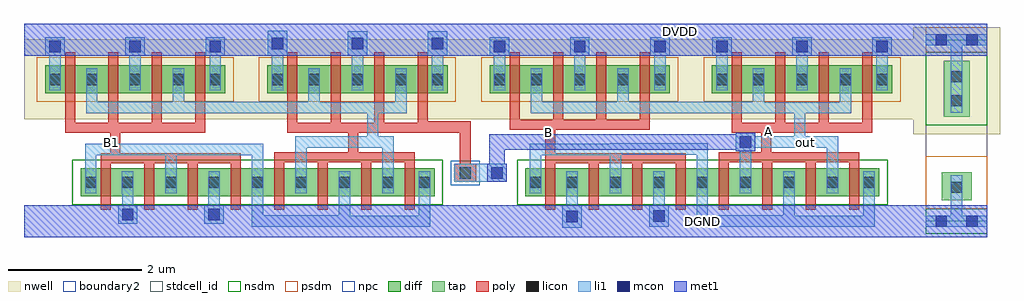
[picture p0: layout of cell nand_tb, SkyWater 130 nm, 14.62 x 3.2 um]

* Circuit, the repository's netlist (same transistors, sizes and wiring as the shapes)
** sch_path: /home/joyen/ee5311/EE5311/assignments/assignment5/nand_tb.sch
.subckt nand_tb DVDD A out B B1 DGND
*.PININFO A:I out:O DGND:B DVDD:B B:I B1:I
x1 DVDD A out B DGND nand
x2 DVDD out net1 B1 DGND nand
.ends

* expanding   symbol:  nand.sym # of pins=5
** sym_path: /home/joyen/ee5311/EE5311/assignments/assignment5/nand.sym
** sch_path: /home/joyen/ee5311/EE5311/assignments/assignment5/nand.sch
.subckt nand VDD A out B GND
*.PININFO A:I out:O VDD:B GND:B B:I
XM1 out A net1 GND sky130_fd_pr__nfet_01v8 L=0.15 W=1.68 nf=4
XM2 out A VDD VDD sky130_fd_pr__pfet_01v8 L=0.15 W=1.68 nf=4
XM3 net1 B GND GND sky130_fd_pr__nfet_01v8 L=0.15 W=1.68 nf=4
XM4 out B VDD VDD sky130_fd_pr__pfet_01v8 L=0.15 W=1.68 nf=4
.ends

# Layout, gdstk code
import gdstk
lib = gdstk.Library(unit=1e-6, precision=1e-09)
def R(c, l, rs):  # rectangles x0, y0, x1, y1
    for r in rs: c.add(gdstk.rectangle(r[:2], r[2:], *l))
def A(c, l, x, y, w, h, nx, ny, dx, dy):  # array of equal rectangles
    R(c, l, [(x+i*dx, y+j*dy, x+i*dx+w, y+j*dy+h) for i in range(nx) for j in range(ny)])
nwell = (64, 20)
diff = (65, 20)
tap = (65, 44)
poly = (66, 20)
licon = (66, 44)
li1 = (67, 20)
mcon = (67, 44)
met1 = (68, 20)
stdcell_id = (81, 4)
nsdm = (93, 44)
psdm = (94, 20)
npc = (95, 20)
boundary2 = (236, 0)

tap_ = lib.new_cell('tap')
R(tap_, nwell, [(-0.19,1.305,1.11,2.91)])
R(tap_, tap, [(0.235,0.315,0.685,0.735), (0.265,1.565,0.655,2.405)])
R(tap_, licon, [(0.375,0.425,0.545,0.595), (0.375,1.72,0.545,1.89), (0.375,2.08,0.545,2.25)])
R(tap_, li1, [(0,-0.085,0.92,0.085), (0.375,0,0.545,0.69), (0.375,1.625,0.545,2.72), (0,2.635,0.92,2.805)])
R(tap_, mcon, [(0.145,-0.085,0.315,0.085), (0.605,-0.085,0.775,0.085), (0.145,2.635,0.315,2.805), (0.605,2.635,0.775,2.805)])
R(tap_, met1, [(0,-0.24,0.92,0.24), (0,2.48,0.92,2.96)])
R(tap_, stdcell_id, [(0,0,0.92,2.72)])
R(tap_, nsdm, [(0,-0.19,0.92,0.19), (0,1.44,0.92,2.53)])
R(tap_, psdm, [(0,0.19,0.92,0.975), (0,2.53,0.92,2.91)])
R(tap_, boundary2, [(0,0,0.92,2.72)])
tap_.add(gdstk.Label('tap', (0,0), layer=83, texttype=44))

pfet = lib.new_cell('pfet')
R(pfet, nwell, [(-0.315,-0.39,3.015,0.81)])
R(pfet, diff, [(0,0,2.7,0.42)])
A(pfet, poly, 0.3, -0.2, 0.15, 0.82, 4, 1, 0.65, 0)
A(pfet, licon, 0.615, 0.125, 0.17, 0.17, 3, 1, 0.65, 0)
R(pfet, licon, [(0.065,0.125,0.235,0.295), (2.465,0.125,2.635,0.295)])
A(pfet, li1, 0.615, 0.045, 0.17, 0.33, 3, 1, 0.65, 0)
R(pfet, li1, [(0.065,0.045,0.235,0.375), (2.465,0.045,2.635,0.375)])
R(pfet, psdm, [(-0.125,-0.125,2.825,0.545)])

vias_gen_2 = lib.new_cell('vias_gen$2')
R(vias_gen_2, li1, [(0,0,0.29,0.28)])
R(vias_gen_2, mcon, [(0.06,0.055,0.23,0.225)])
R(vias_gen_2, met1, [(0,0,0.29,0.28)])

nfet = lib.new_cell('nfet')
R(nfet, diff, [(0,0,5.3,0.42)])
A(nfet, poly, 0.3, -0.2, 0.15, 0.82, 8, 1, 0.65, 0)
A(nfet, licon, 0.615, 0.125, 0.17, 0.17, 7, 1, 0.65, 0)
R(nfet, licon, [(0.065,0.125,0.235,0.295), (5.065,0.125,5.235,0.295)])
A(nfet, li1, 0.615, 0.045, 0.17, 0.33, 7, 1, 0.65, 0)
R(nfet, li1, [(0.065,0.045,0.235,0.375), (5.065,0.045,5.235,0.375)])
R(nfet, nsdm, [(-0.125,-0.125,5.425,0.545)])

vias_gen_6 = lib.new_cell('vias_gen$6')
R(vias_gen_6, li1, [(0,0,0.29,0.335)])
R(vias_gen_6, mcon, [(0.06,0.08,0.23,0.25)])
R(vias_gen_6, met1, [(0,0,0.29,0.335)])

vias_gen_7 = lib.new_cell('vias_gen$7')
R(vias_gen_7, li1, [(0,0,0.29,0.32)])
R(vias_gen_7, mcon, [(0.06,0.075,0.23,0.245)])
R(vias_gen_7, met1, [(0,0,0.29,0.32)])

vias_gen_1 = lib.new_cell('vias_gen$1')
R(vias_gen_1, li1, [(0,0,0.29,0.37)])
R(vias_gen_1, mcon, [(0.06,0.1,0.23,0.27)])
R(vias_gen_1, met1, [(0,0,0.29,0.37)])

vias_gen = lib.new_cell('vias_gen')
R(vias_gen, li1, [(0,0,0.29,0.375)])
R(vias_gen, mcon, [(0.06,0.1,0.23,0.27)])
R(vias_gen, met1, [(0,0,0.29,0.375)])

vias_gen_4 = lib.new_cell('vias_gen$4')
R(vias_gen_4, poly, [(0,0,0.33,0.27)])
R(vias_gen_4, licon, [(0.08,0.05,0.25,0.22)])
R(vias_gen_4, li1, [(0,0,0.33,0.27)])
R(vias_gen_4, npc, [(-0.05,-0.05,0.38,0.32)])

vias_gen_5 = lib.new_cell('vias_gen$5')
R(vias_gen_5, li1, [(0,0,0.29,0.27)])
R(vias_gen_5, mcon, [(0.06,0.05,0.23,0.22)])
R(vias_gen_5, met1, [(0,0,0.29,0.27)])

nand_tb = lib.new_cell('nand_tb')
nand_tb.add(gdstk.FlexPath([(-8.285,1.865),(-8.285,1.525)], 0.17, ends="flush", simple_path=True, layer=67, datatype=20))  # li1
nand_tb.add(gdstk.FlexPath([(-7.985,1.44),(-9.36,1.44),(-9.36,0.75)], 0.17, ends="flush", simple_path=True, layer=67, datatype=20))  # li1
nand_tb.add(gdstk.FlexPath([(-1.4,0.92),(-1.4,1.525)], 0.17, ends="flush", simple_path=True, layer=67, datatype=20))  # li1
nand_tb.add(gdstk.FlexPath([(-3.055,2.54),(-3.055,3.01)], 0.17, ends="flush", simple_path=True, layer=67, datatype=20))  # li1
nand_tb.add(gdstk.FlexPath([(-1.855,2.54),(-1.855,3.01)], 0.17, ends="flush", simple_path=True, layer=67, datatype=20))  # li1
nand_tb.add(gdstk.FlexPath([(-0.655,2.54),(-0.655,3.01)], 0.17, ends="flush", simple_path=True, layer=67, datatype=20))  # li1
nand_tb.add(gdstk.FlexPath([(-11.395,1.325),(-12.51,1.325),(-12.51,0.75)], 0.17, ends="flush", simple_path=True, layer=67, datatype=20))  # li1
nand_tb.add(gdstk.FlexPath([(-10.01,0.91),(-10.01,1.325),(-11.31,1.325),(-11.31,0.74)], 0.17, ends="flush", simple_path=True, layer=67, datatype=20))  # li1
nand_tb.add(gdstk.FlexPath([(-8.795,0.255),(-10.01,0.255),(-10.01,0.94)], 0.17, ends="flush", simple_path=True, layer=67, datatype=20))  # li1
nand_tb.add(gdstk.FlexPath([(-7.51,0.92),(-7.51,0.25),(-8.71,0.25),(-8.71,0.92)], 0.17, ends="flush", simple_path=True, layer=67, datatype=20))  # li1
nand_tb.add(gdstk.FlexPath([(-8.06,0.75),(-8.06,1.525)], 0.17, ends="flush", simple_path=True, layer=67, datatype=20))  # li1
nand_tb.add(gdstk.FlexPath([(-2.505,2.47),(-2.505,1.95),(-1.205,1.95),(-1.205,2.47)], 0.17, ends="flush", simple_path=True, layer=67, datatype=20))  # li1
nand_tb.add(gdstk.FlexPath([(-5.835,2.46),(-5.835,1.955),(-4.535,1.955),(-4.535,2.46)], 0.17, ends="flush", simple_path=True, layer=67, datatype=20))  # li1
nand_tb.add(gdstk.FlexPath([(-3.985,2.54),(-3.985,3.01)], 0.17, ends="flush", simple_path=True, layer=67, datatype=20))  # li1
nand_tb.add(gdstk.FlexPath([(-5.185,2.54),(-5.185,3.01)], 0.17, ends="flush", simple_path=True, layer=67, datatype=20))  # li1
nand_tb.add(gdstk.FlexPath([(-1.485,1.44),(-2.7,1.44),(-2.7,0.75)], 0.17, ends="flush", simple_path=True, layer=67, datatype=20))  # li1
nand_tb.add(gdstk.FlexPath([(-0.85,0.92),(-0.85,0.25),(-2.05,0.25),(-2.05,0.92)], 0.17, ends="flush", simple_path=True, layer=67, datatype=20))  # li1
nand_tb.add(gdstk.FlexPath([(-2.135,0.255),(-3.35,0.255),(-3.35,0.94)], 0.17, ends="flush", simple_path=True, layer=67, datatype=20))  # li1
nand_tb.add(gdstk.FlexPath([(-2.59,1.955),(-4.45,1.955)], 0.17, ends="flush", simple_path=True, layer=67, datatype=20))  # li1
nand_tb.add(gdstk.FlexPath([(-9.715,2.54),(-9.715,3.105)], 0.17, ends="flush", simple_path=True, layer=67, datatype=20))  # li1
nand_tb.add(gdstk.FlexPath([(-6.385,2.54),(-6.385,3.01)], 0.17, ends="flush", simple_path=True, layer=67, datatype=20))  # li1
nand_tb.add(gdstk.FlexPath([(-8.515,2.54),(-8.515,3.1)], 0.17, ends="flush", simple_path=True, layer=67, datatype=20))  # li1
nand_tb.add(gdstk.FlexPath([(-7.315,2.54),(-7.315,3.1)], 0.17, ends="flush", simple_path=True, layer=67, datatype=20))  # li1
nand_tb.add(gdstk.FlexPath([(-9.165,2.47),(-9.165,1.95),(-7.865,1.95),(-7.865,2.47)], 0.17, ends="flush", simple_path=True, layer=67, datatype=20))  # li1
nand_tb.add(gdstk.FlexPath([(-12.495,2.46),(-12.495,1.955),(-11.195,1.955),(-11.195,2.46)], 0.17, ends="flush", simple_path=True, layer=67, datatype=20))  # li1
nand_tb.add(gdstk.FlexPath([(-10.645,2.54),(-10.645,3.01)], 0.17, ends="flush", simple_path=True, layer=67, datatype=20))  # li1
nand_tb.add(gdstk.FlexPath([(-11.845,2.54),(-11.845,3.01)], 0.17, ends="flush", simple_path=True, layer=67, datatype=20))  # li1
nand_tb.add(gdstk.FlexPath([(-13.045,2.54),(-13.045,3.01)], 0.17, ends="flush", simple_path=True, layer=67, datatype=20))  # li1
nand_tb.add(gdstk.FlexPath([(-9.25,1.955),(-11.11,1.955)], 0.17, ends="flush", simple_path=True, layer=67, datatype=20))  # li1
nand_tb.add(gdstk.FlexPath([(-6.985,0.975),(-6.3,0.975)], 0.27, ends="flush", simple_path=True, layer=67, datatype=20))  # li1
nand_tb.add(gdstk.FlexPath([(-3.35,0.92),(-3.35,1.335),(-4.65,1.335),(-4.65,0.75)], 0.17, ends="flush", simple_path=True, layer=67, datatype=20))  # li1
nand_tb.add(gdstk.FlexPath([(-11.955,0.92),(-11.955,0.21)], 0.17, ends="flush", simple_path=True, layer=67, datatype=20))  # li1
nand_tb.add(gdstk.FlexPath([(-10.665,0.92),(-10.665,0.21)], 0.17, ends="flush", simple_path=True, layer=67, datatype=20))  # li1
nand_tb.add(gdstk.FlexPath([(-4.735,1.325),(-5.85,1.325),(-5.85,0.75)], 0.17, ends="flush", simple_path=True, layer=67, datatype=20))  # li1
nand_tb.add(gdstk.FlexPath([(-4,0.75),(-4,0.17)], 0.17, ends="flush", simple_path=True, layer=67, datatype=20))  # li1
nand_tb.add(gdstk.FlexPath([(-5.3,0.75),(-5.3,0.155)], 0.17, ends="flush", simple_path=True, layer=67, datatype=20))  # li1
nand_tb.add(gdstk.FlexPath([(-1.89,1.865),(-1.89,1.525)], 0.17, ends="flush", simple_path=True, layer=67, datatype=20))  # li1
nand_tb.add(gdstk.FlexPath([(-2.615,1.44),(-6.425,1.44),(-6.425,0.89)], 0.23, ends="flush", simple_path=True, layer=68, datatype=20))  # met1
nand_tb.add(gdstk.FlexPath([(-6.66,0.25),(-13.505,0.25)], 0.48, ends="flush", simple_path=True, layer=68, datatype=20))  # met1
nand_tb.add(gdstk.FlexPath([(0,0.25),(-6.75,0.25)], 0.48, ends="flush", simple_path=True, layer=68, datatype=20))  # met1
nand_tb.add(gdstk.FlexPath([(0,2.97),(-6.85,2.97)], 0.48, ends="flush", simple_path=True, layer=68, datatype=20))  # met1
nand_tb.add(gdstk.FlexPath([(-6.66,2.97),(-13.51,2.97)], 0.48, ends="flush", simple_path=True, layer=68, datatype=20))  # met1
nand_tb.add(gdstk.FlexPath([(-2.83,1.965),(-2.83,1.575)], 0.15, ends="flush", simple_path=True, layer=66, datatype=20))  # poly
nand_tb.add(gdstk.FlexPath([(-2.18,1.965),(-2.18,1.575)], 0.15, ends="flush", simple_path=True, layer=66, datatype=20))  # poly
nand_tb.add(gdstk.FlexPath([(-6.16,1.965),(-6.16,1.62)], 0.15, ends="flush", simple_path=True, layer=66, datatype=20))  # poly
nand_tb.add(gdstk.FlexPath([(-2.755,1.65),(-0.955,1.65)], 0.15, ends="flush", simple_path=True, layer=66, datatype=20))  # poly
nand_tb.add(gdstk.FlexPath([(-6.085,1.695),(-4.285,1.695)], 0.15, ends="flush", simple_path=True, layer=66, datatype=20))  # poly
nand_tb.add(gdstk.FlexPath([(-5.51,1.965),(-5.51,1.62)], 0.15, ends="flush", simple_path=True, layer=66, datatype=20))  # poly
nand_tb.add(gdstk.FlexPath([(-4.86,1.965),(-4.86,1.62)], 0.15, ends="flush", simple_path=True, layer=66, datatype=20))  # poly
nand_tb.add(gdstk.FlexPath([(-4.21,1.965),(-4.21,1.62)], 0.15, ends="flush", simple_path=True, layer=66, datatype=20))  # poly
nand_tb.add(gdstk.FlexPath([(-1.53,1.965),(-1.53,1.575)], 0.15, ends="flush", simple_path=True, layer=66, datatype=20))  # poly
nand_tb.add(gdstk.FlexPath([(-0.88,1.965),(-0.88,1.575)], 0.15, ends="flush", simple_path=True, layer=66, datatype=20))  # poly
nand_tb.add(gdstk.FlexPath([(-5.7,1.195),(-3.6,1.195)], 0.15, ends="flush", simple_path=True, layer=66, datatype=20))  # poly
nand_tb.add(gdstk.FlexPath([(-3.1,1.21),(-1,1.21)], 0.15, ends="flush", simple_path=True, layer=66, datatype=20))  # poly
nand_tb.add(gdstk.FlexPath([(-5.625,1.62),(-5.625,1.27)], 0.15, ends="flush", simple_path=True, layer=66, datatype=20))  # poly
nand_tb.add(gdstk.FlexPath([(-2.39,1.285),(-2.39,1.575)], 0.15, ends="flush", simple_path=True, layer=66, datatype=20))  # poly
nand_tb.add(gdstk.FlexPath([(-9.49,1.965),(-9.49,1.575)], 0.15, ends="flush", simple_path=True, layer=66, datatype=20))  # poly
nand_tb.add(gdstk.FlexPath([(-7.465,1.66),(-6.9,1.66),(-6.9,0.885)], 0.17, ends="flush", simple_path=True, layer=66, datatype=20))  # poly
nand_tb.add(gdstk.FlexPath([(-8.84,1.965),(-8.84,1.575)], 0.15, ends="flush", simple_path=True, layer=66, datatype=20))  # poly
nand_tb.add(gdstk.FlexPath([(-12.82,1.965),(-12.82,1.575)], 0.15, ends="flush", simple_path=True, layer=66, datatype=20))  # poly
nand_tb.add(gdstk.FlexPath([(-9.415,1.65),(-7.615,1.65)], 0.15, ends="flush", simple_path=True, layer=66, datatype=20))  # poly
nand_tb.add(gdstk.FlexPath([(-12.745,1.65),(-10.945,1.65)], 0.15, ends="flush", simple_path=True, layer=66, datatype=20))  # poly
nand_tb.add(gdstk.FlexPath([(-12.17,1.965),(-12.17,1.575)], 0.15, ends="flush", simple_path=True, layer=66, datatype=20))  # poly
nand_tb.add(gdstk.FlexPath([(-11.52,1.965),(-11.52,1.575)], 0.15, ends="flush", simple_path=True, layer=66, datatype=20))  # poly
nand_tb.add(gdstk.FlexPath([(-10.87,1.965),(-10.87,1.575)], 0.15, ends="flush", simple_path=True, layer=66, datatype=20))  # poly
nand_tb.add(gdstk.FlexPath([(-8.19,1.965),(-8.19,1.575)], 0.15, ends="flush", simple_path=True, layer=66, datatype=20))  # poly
nand_tb.add(gdstk.FlexPath([(-7.54,1.965),(-7.54,1.575)], 0.15, ends="flush", simple_path=True, layer=66, datatype=20))  # poly
nand_tb.add(gdstk.FlexPath([(-12.36,1.195),(-10.26,1.195)], 0.15, ends="flush", simple_path=True, layer=66, datatype=20))  # poly
nand_tb.add(gdstk.FlexPath([(-9.76,1.21),(-7.66,1.21)], 0.15, ends="flush", simple_path=True, layer=66, datatype=20))  # poly
nand_tb.add(gdstk.FlexPath([(-12.145,1.575),(-12.145,1.27)], 0.15, ends="flush", simple_path=True, layer=66, datatype=20))  # poly
nand_tb.add(gdstk.FlexPath([(-8.575,1.285),(-8.575,1.575)], 0.15, ends="flush", simple_path=True, layer=66, datatype=20))  # poly
nand_tb.add(gdstk.Reference(tap_, (0,0.25)))
nand_tb.add(gdstk.Reference(pfet, (-3.205,2.165)))
nand_tb.add(gdstk.Reference(vias_gen_2, (-5.33,2.73)))
nand_tb.add(gdstk.Reference(nfet, (-6,0.625)))
nand_tb.add(gdstk.Reference(vias_gen_2, (-12.1,0.21)))
nand_tb.add(gdstk.Reference(vias_gen_6, (-5.445,0.155)))
nand_tb.add(gdstk.Reference(vias_gen_2, (-6.53,2.73)))
nand_tb.add(gdstk.Reference(vias_gen_2, (-4.13,2.73)))
nand_tb.add(gdstk.Reference(vias_gen_2, (-0.8,2.73)))
nand_tb.add(gdstk.Reference(vias_gen_2, (-2,2.73)))
nand_tb.add(gdstk.Reference(vias_gen_2, (-3.2,2.73)))
nand_tb.add(gdstk.Reference(pfet, (-6.535,2.165)))
nand_tb.add(gdstk.Reference(pfet, (-9.865,2.165)))
nand_tb.add(gdstk.Reference(vias_gen_2, (-11.99,2.73)))
nand_tb.add(gdstk.Reference(vias_gen_2, (-10.81,0.21)))
nand_tb.add(gdstk.Reference(nfet, (-12.66,0.625)))
nand_tb.add(gdstk.Reference(vias_gen_7, (-4.145,0.17)))
nand_tb.add(gdstk.Reference(vias_gen_2, (-13.19,2.73)))
nand_tb.add(gdstk.Reference(vias_gen_2, (-10.79,2.73)))
nand_tb.add(gdstk.Reference(vias_gen_1, (-7.46,2.73)))
nand_tb.add(gdstk.Reference(vias_gen_1, (-8.66,2.73)))
nand_tb.add(gdstk.Reference(vias_gen, (-9.86,2.73)))
nand_tb.add(gdstk.Reference(pfet, (-13.195,2.165)))
nand_tb.add(gdstk.Reference(vias_gen_4, (-7.065,0.84)))
nand_tb.add(gdstk.Reference(vias_gen_2, (-2.845,1.3)))
nand_tb.add(gdstk.Reference(vias_gen_5, (-6.57,0.84)))
nand_tb.add(gdstk.Label('out', (-1.8,1.425), layer=67, texttype=5))
nand_tb.add(gdstk.Label('DVDD', (-3.68,3.09), layer=68, texttype=5))
nand_tb.add(gdstk.Label('DGND', (-3.345,0.25), layer=68, texttype=5))
nand_tb.add(gdstk.Label('B', (-5.655,1.58), layer=66, texttype=5))
nand_tb.add(gdstk.Label('A', (-2.36,1.6), layer=66, texttype=5))
nand_tb.add(gdstk.Label('B1', (-12.2,1.435), layer=66, texttype=5))

lib.write_gds('nand_tb.gds')
